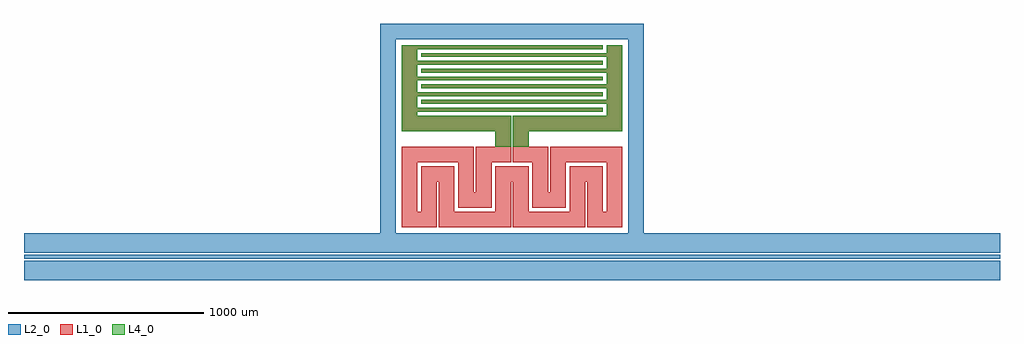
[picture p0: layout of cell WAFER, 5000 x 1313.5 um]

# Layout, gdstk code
import gdstk
lib = gdstk.Library(unit=1e-6, precision=1e-09)
def R(c, l, rs):  # rectangles x0, y0, x1, y1
    for r in rs: c.add(gdstk.rectangle(r[:2], r[2:], *l))
def A(c, l, x, y, w, h, nx, ny, dx, dy):  # array of equal rectangles
    R(c, l, [(x+i*dx, y+j*dy, x+i*dx+w, y+j*dy+h) for i in range(nx) for j in range(ny)])
def P(c, l, *ps):  # polygons
    for p in ps: c.add(gdstk.Polygon(p, *l))
L1_0 = (1, 0)
L2_0 = (2, 0)
L4_0 = (4, 0)

kid412_0c = lib.new_cell('KID412.0c')
A(kid412_0c, L1_0, -485, 126, 950, 20, 1, 5, 0, 80)
A(kid412_0c, L1_0, -465, 166, 950, 20, 1, 4, 0, 80)
P(kid412_0c, L1_0, [(5,-466),(5,-234),(0,-234),(0,-154),(85,-154),(85,-386),(295,-386),(295,-154),(465,-154),(465,-386),(485,-386),(485,-134),(275,-134),(275,-366),(105,-366),(105,-134),(5,-134),(5,-54),(185,-54),(185,-286),(195,-286),(195,-54),(565,-54),(565,-466),(385,-466),(385,-234),(375,-234),(375,-466)],
  [(-565,-466),(-565,-54),(-195,-54),(-195,-286),(-185,-286),(-185,-54),(-5,-54),(-5,-134),(-105,-134),(-105,-366),(-275,-366),(-275,-134),(-485,-134),(-485,-386),(-465,-386),(-465,-154),(-295,-154),(-295,-386),(-85,-386),(-85,-154),(0,-154),(0,-234),(-5,-234),(-5,-466),(-375,-466),(-375,-234),(-385,-234),(-385,-466)],
  [(-85,-54),(-85,26),(-565,26),(-565,466),(-485,466),(-485,106),(-5,106),(-5,-54)],
  [(5,-54),(5,106),(485,106),(485,466),(565,466),(565,26),(85,26),(85,-54)])

capacitor412_0c = lib.new_cell('CAPACITOR412.0c')
A(capacitor412_0c, L4_0, -485, -80, 950, 20, 1, 5, 0, 80)
A(capacitor412_0c, L4_0, -465, -40, 950, 20, 1, 4, 0, 80)
P(capacitor412_0c, L4_0, [(-85,-260),(-85,-180),(-565,-180),(-565,260),(-485,260),(-485,-100),(-5,-100),(-5,-260)],
  [(5,-260),(5,-100),(485,-100),(485,260),(565,260),(565,-180),(85,-180),(85,-260)])

ground_shield_412c = lib.new_cell('GROUND_SHIELD_412c')
P(ground_shield_412c, L2_0, [(-675,-536),(-675,536),(675,536),(675,-536),(595,-536),(595,456),(-595,456),(-595,-536)])

cpw = lib.new_cell('CPW')
R(cpw, L2_0, [(-2500,-120.75,2500,-20.75), (-2500,-10,2500,10), (-2500,20.75,2500,120.75)])

wafer = lib.new_cell('WAFER')
wafer.add(gdstk.Reference(kid412_0c, (0,0)))
wafer.add(gdstk.Reference(capacitor412_0c, (0,206)))
wafer.add(gdstk.Reference(ground_shield_412c, (0,40)))
wafer.add(gdstk.Reference(cpw, (0,-616.75)))

lib.write_gds('WAFER.gds')
